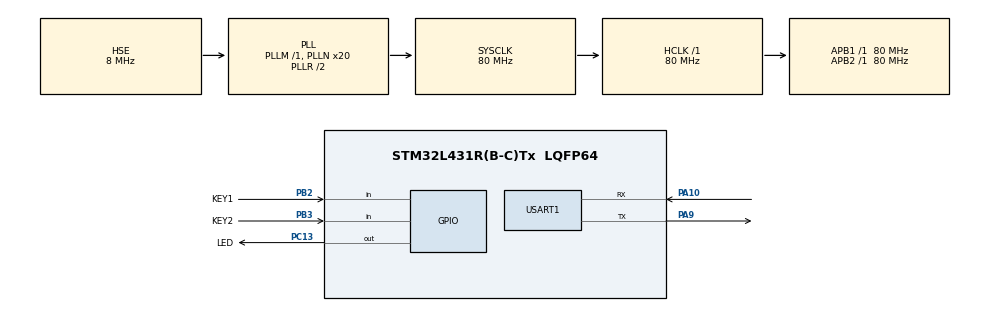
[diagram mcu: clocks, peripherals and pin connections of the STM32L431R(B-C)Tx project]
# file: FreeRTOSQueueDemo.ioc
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FREERTOS.Queues01=Test_Queue,4,uint16_t,0,Dynamic,NULL,NULL
FREERTOS.Tasks01=ReceiveTask,0,128,StartDefaultTask,Default,NULL,Dynamic,NULL,NULL;Send_Task,1,128,StartTask02,Default,NULL,Dynamic,NULL,NULL
Mcu.Family=STM32L4
Mcu.Name=STM32L431R(B-C)Tx
Mcu.Package=LQFP64
NVIC.PriorityGroup=NVIC_PRIORITYGROUP_4
NVIC.TIM1_UP_TIM16_IRQn=true\:0\:0\:false\:false\:true\:false\:false\:true
NVIC.TimeBase=TIM1_UP_TIM16_IRQn
NVIC.TimeBaseIP=TIM1
PA10.Mode=Asynchronous
PA10.Signal=USART1_RX
PA9.Mode=Asynchronous
PA9.Signal=USART1_TX
PB2.GPIO_Label=KEY1
PB2.GPIO_PuPd=GPIO_PULLUP
PB2.Signal=GPIO_Input
PB3\ (JTDO-TRACESWO).GPIO_Label=KEY2
PB3\ (JTDO-TRACESWO).GPIO_PuPd=GPIO_PULLUP
PB3\ (JTDO-TRACESWO).Signal=GPIO_Input
PC13.GPIO_Label=LED
PC13.GPIO_PuPd=GPIO_NOPULL
PC13.Signal=GPIO_Output
PC14-OSC32_IN\ (PC14).Mode=LSE-External-Oscillator
PC14-OSC32_IN\ (PC14).Signal=RCC_OSC32_IN
PC15-OSC32_OUT\ (PC15).Mode=LSE-External-Oscillator
PC15-OSC32_OUT\ (PC15).Signal=RCC_OSC32_OUT
PH0-OSC_IN\ (PH0).Mode=HSE-External-Oscillator
PH0-OSC_IN\ (PH0).Signal=RCC_OSC_IN
PH1-OSC_OUT\ (PH1).Mode=HSE-External-Oscillator
PH1-OSC_OUT\ (PH1).Signal=RCC_OSC_OUT
ProjectManager.HeapSize=0x200
ProjectManager.StackSize=0x400
ProjectManager.TargetToolchain=SW4STM32
RCC.ADCFreq_Value=32000000
RCC.AHBFreq_Value=80000000
RCC.APB1Freq_Value=80000000
RCC.APB1TimFreq_Value=80000000
RCC.APB2Freq_Value=80000000
RCC.APB2TimFreq_Value=80000000
RCC.CortexFreq_Value=80000000
RCC.HCLKFreq_Value=80000000
RCC.HSE_VALUE=8000000
RCC.HSI48_VALUE=48000000
RCC.HSI_VALUE=16000000
RCC.MSI_VALUE=4000000
RCC.PLLN=20
RCC.PLLSourceVirtual=RCC_PLLSOURCE_HSE
RCC.SYSCLKFreq_VALUE=80000000
RCC.SYSCLKSource=RCC_SYSCLKSOURCE_PLLCLK
RCC.VCOOutputFreq_Value=160000000
USART1.VirtualMode-Asynchronous=VM_ASYNC
VP_FREERTOS_VS_CMSIS_V1.Mode=CMSIS_V1
VP_SYS_VS_tim1.Mode=TIM1
board=custom

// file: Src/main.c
/* USER CODE BEGIN Header */
/**
  ******************************************************************************
  * @file           : main.c
  * @brief          : Main program body
  ******************************************************************************
  * @attention
  *
  * <h2><center>&copy; Copyright (c) 2020 STMicroelectronics.
  * All rights reserved.</center></h2>
  *
  * This software component is licensed by ST under Ultimate Liberty license
  * SLA0044, the "License"; You may not use this file except in compliance with
  * the License. You may obtain a copy of the License at:
  *                             www.st.com/SLA0044
  *
  ******************************************************************************
  */
/* USER CODE END Header */

#include "main.h"
#include "cmsis_os.h"
#include "usart.h"
#include "gpio.h"

/* USER CODE BEGIN Includes */
#if 1
#include <stdio.h>
int _write(int fd, char *ptr, int len)
{
    HAL_UART_Transmit(&huart1,(uint8_t*)ptr, len, 0xFFFF);
    return len;
}

#endif

/* USER CODE END Includes */

void SystemClock_Config(void);
void MX_FREERTOS_Init(void);

int main(void)
{

  /* MCU Configuration--------------------------------------------------------*/

  /* Reset of all peripherals, Initializes the Flash interface and the Systick. */
  HAL_Init();

  /* Configure the system clock */
  SystemClock_Config();

  /* Initialize all configured peripherals */
  MX_GPIO_Init();
  MX_USART1_UART_Init();
  /* USER CODE BEGIN 2 */
  printf("FreeRTOS消息队列实验\n");
  printf("按下KEY1或者KEY2发送消息队列\n");
  printf("Receive任务接收到消息在串口回显\n");

  /* USER CODE END 2 */

  /* Call init function for freertos objects (in freertos.c) */
  MX_FREERTOS_Init();

  /* Start scheduler */
  osKernelStart();

  /* We should never get here as control is now taken by the scheduler */

  /* Infinite loop */
  while (1)
  {

  }
}

void SystemClock_Config(void)
{
  RCC_OscInitTypeDef RCC_OscInitStruct = {0};
  RCC_ClkInitTypeDef RCC_ClkInitStruct = {0};
  RCC_PeriphCLKInitTypeDef PeriphClkInit = {0};

  /** Initializes the CPU, AHB and APB busses clocks
  */
  RCC_OscInitStruct.OscillatorType = RCC_OSCILLATORTYPE_HSE;
  RCC_OscInitStruct.HSEState = RCC_HSE_ON;
  RCC_OscInitStruct.PLL.PLLState = RCC_PLL_ON;
  RCC_OscInitStruct.PLL.PLLSource = RCC_PLLSOURCE_HSE;
  RCC_OscInitStruct.PLL.PLLM = 1;
  RCC_OscInitStruct.PLL.PLLN = 20;
  RCC_OscInitStruct.PLL.PLLP = RCC_PLLP_DIV7;
  RCC_OscInitStruct.PLL.PLLQ = RCC_PLLQ_DIV2;
  RCC_OscInitStruct.PLL.PLLR = RCC_PLLR_DIV2;
  if (HAL_RCC_OscConfig(&RCC_OscInitStruct) != HAL_OK)
  {
    Error_Handler();
  }
  /** Initializes the CPU, AHB and APB busses clocks
  */
  RCC_ClkInitStruct.ClockType = RCC_CLOCKTYPE_HCLK|RCC_CLOCKTYPE_SYSCLK
                              |RCC_CLOCKTYPE_PCLK1|RCC_CLOCKTYPE_PCLK2;
  RCC_ClkInitStruct.SYSCLKSource = RCC_SYSCLKSOURCE_PLLCLK;
  RCC_ClkInitStruct.AHBCLKDivider = RCC_SYSCLK_DIV1;
  RCC_ClkInitStruct.APB1CLKDivider = RCC_HCLK_DIV1;
  RCC_ClkInitStruct.APB2CLKDivider = RCC_HCLK_DIV1;

  if (HAL_RCC_ClockConfig(&RCC_ClkInitStruct, FLASH_LATENCY_4) != HAL_OK)
  {
    Error_Handler();
  }
  PeriphClkInit.PeriphClockSelection = RCC_PERIPHCLK_USART1;
  PeriphClkInit.Usart1ClockSelection = RCC_USART1CLKSOURCE_PCLK2;
  if (HAL_RCCEx_PeriphCLKConfig(&PeriphClkInit) != HAL_OK)
  {
    Error_Handler();
  }
  /** Configure the main internal regulator output voltage
  */
  if (HAL_PWREx_ControlVoltageScaling(PWR_REGULATOR_VOLTAGE_SCALE1) != HAL_OK)
  {
    Error_Handler();
  }
}

void HAL_TIM_PeriodElapsedCallback(TIM_HandleTypeDef *htim)
{
  if (htim->Instance == TIM1) {
    HAL_IncTick();
  }
}

void Error_Handler(void)
{
}

/************************ (C) COPYRIGHT STMicroelectronics *****END OF FILE****/

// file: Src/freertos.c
/* USER CODE BEGIN Header */
/**
  ******************************************************************************
  * File Name          : freertos.c
  * Description        : Code for freertos applications
  ******************************************************************************
  * @attention
  *
  * <h2><center>&copy; Copyright (c) 2020 STMicroelectronics.
  * All rights reserved.</center></h2>
  *
  * This software component is licensed by ST under Ultimate Liberty license
  * SLA0044, the "License"; You may not use this file except in compliance with
  * the License. You may obtain a copy of the License at:
  *                             www.st.com/SLA0044
  *
  ******************************************************************************
  */
/* USER CODE END Header */

#include "FreeRTOS.h"
#include "task.h"
#include "main.h"
#include "cmsis_os.h"
#include <stdio.h>

osThreadId ReceiveTaskHandle;
osThreadId Send_TaskHandle;
osMessageQId Test_QueueHandle;

void StartDefaultTask(void const * argument);
void StartTask02(void const * argument);

void MX_FREERTOS_Init(void); /* (MISRA C 2004 rule 8.1) */

/* GetIdleTaskMemory prototype (linked to static allocation support) */
void vApplicationGetIdleTaskMemory( StaticTask_t **ppxIdleTaskTCBBuffer, StackType_t **ppxIdleTaskStackBuffer, uint32_t *pulIdleTaskStackSize );

/* USER CODE BEGIN GET_IDLE_TASK_MEMORY */
static StaticTask_t xIdleTaskTCBBuffer;
static StackType_t xIdleStack[configMINIMAL_STACK_SIZE];

void vApplicationGetIdleTaskMemory( StaticTask_t **ppxIdleTaskTCBBuffer, StackType_t **ppxIdleTaskStackBuffer, uint32_t *pulIdleTaskStackSize )
{
  *ppxIdleTaskTCBBuffer = &xIdleTaskTCBBuffer;
  *ppxIdleTaskStackBuffer = &xIdleStack[0];
  *pulIdleTaskStackSize = configMINIMAL_STACK_SIZE;
  /* place for user code */
}
/* USER CODE END GET_IDLE_TASK_MEMORY */

void MX_FREERTOS_Init(void) {

  /* Create the queue(s) */
  /* definition and creation of Test_Queue */
  osMessageQDef(Test_Queue, 4, uint16_t);
  Test_QueueHandle = osMessageCreate(osMessageQ(Test_Queue), NULL);

  /* Create the thread(s) */
  /* definition and creation of ReceiveTask */
  osThreadDef(ReceiveTask, StartDefaultTask, osPriorityNormal, 0, 128);
  ReceiveTaskHandle = osThreadCreate(osThread(ReceiveTask), NULL);

  /* definition and creation of Send_Task */
  osThreadDef(Send_Task, StartTask02, osPriorityAboveNormal, 0, 128);
  Send_TaskHandle = osThreadCreate(osThread(Send_Task), NULL);

}

void StartDefaultTask(void const * argument)
{
  /* USER CODE BEGIN StartDefaultTask */
  BaseType_t xReturn = pdTRUE;
  uint32_t r_quequ;/*定义一个接受消息的变量*/
  /* Infinite loop */
  for(;;)
  {
    xReturn = xQueueReceive(Test_QueueHandle, &r_quequ, portMAX_DELAY/*一直等*/);
    if(xReturn == pdTRUE){
        printf("本次接收到的数据是%d\n", r_quequ);
    }
    else{
        printf("本次接收出错, 错误代码： 0x%lx\n", xReturn);
    }
    //osDelay(1);
  }
  /* USER CODE END StartDefaultTask */
}

void StartTask02(void const * argument)
{
  /* USER CODE BEGIN StartTask02 */
  BaseType_t xReturn = pdPASS;
  uint32_t send_data1 = 1;
  uint32_t send_data2 = 2;
  /* Infinite loop */
  for(;;)
  {
    if(HAL_GPIO_ReadPin(KEY1_GPIO_Port, KEY1_Pin) == GPIO_PIN_RESET){
        printf("发送消息send_data1!\n");
        xReturn = xQueueSend(Test_QueueHandle, &send_data1, 0);
        if(xReturn == pdPASS){
            printf("消息send_data1发送成功！\n");
            HAL_GPIO_TogglePin(LED_GPIO_Port, LED_Pin);
        }
    }
    if(HAL_GPIO_ReadPin(KEY2_GPIO_Port, KEY2_Pin) == GPIO_PIN_RESET){
        printf("发送消息send_data2!\n");
        xReturn = xQueueSend(Test_QueueHandle, &send_data2, 0);
        if(xReturn == pdPASS){
            printf("消息send_data2发送成功！\n");
            HAL_GPIO_TogglePin(LED_GPIO_Port, LED_Pin);
        }
    }
    osDelay(200);
  }
  /* USER CODE END StartTask02 */
}

/************************ (C) COPYRIGHT STMicroelectronics *****END OF FILE****/
